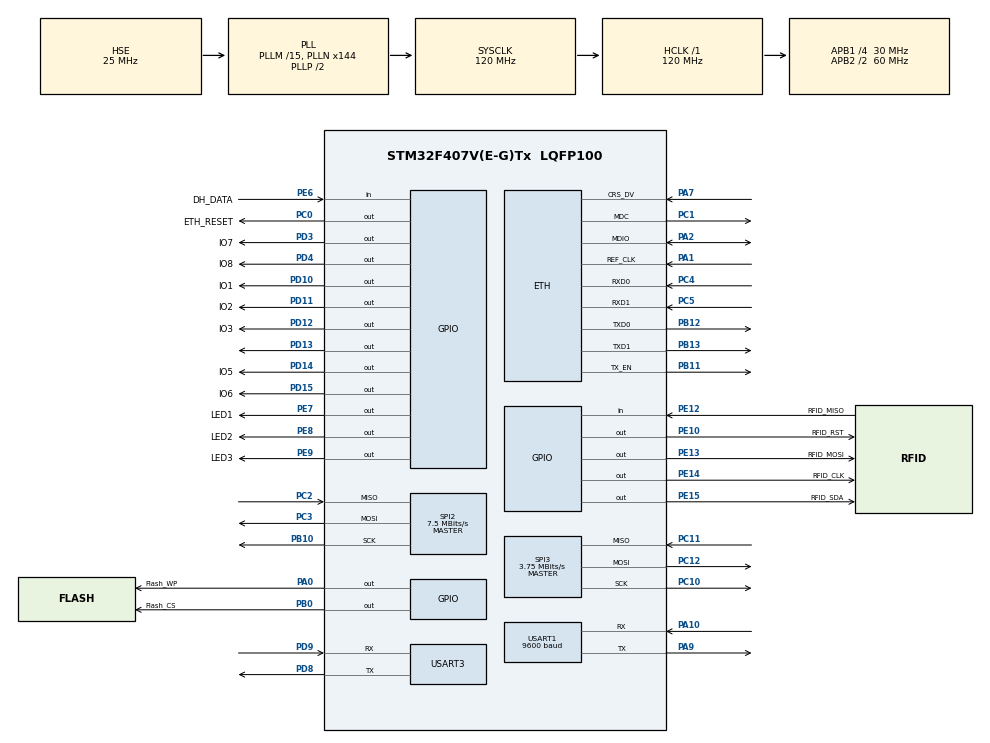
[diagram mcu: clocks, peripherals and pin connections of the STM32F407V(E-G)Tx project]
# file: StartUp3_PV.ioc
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Dma.Request0=USART1_TX
Dma.Request1=USART3_TX
Dma.Request2=SPI3_RX
Dma.Request3=SPI3_TX
Dma.SPI3_RX.2.Direction=DMA_PERIPH_TO_MEMORY
Dma.SPI3_RX.2.FIFOMode=DMA_FIFOMODE_DISABLE
Dma.SPI3_RX.2.Instance=DMA1_Stream0
Dma.SPI3_RX.2.MemDataAlignment=DMA_MDATAALIGN_BYTE
Dma.SPI3_RX.2.MemInc=DMA_MINC_ENABLE
Dma.SPI3_RX.2.Mode=DMA_NORMAL
Dma.SPI3_RX.2.PeriphDataAlignment=DMA_PDATAALIGN_BYTE
Dma.SPI3_RX.2.PeriphInc=DMA_PINC_DISABLE
Dma.SPI3_RX.2.Priority=DMA_PRIORITY_LOW
Dma.SPI3_TX.3.Direction=DMA_MEMORY_TO_PERIPH
Dma.SPI3_TX.3.FIFOMode=DMA_FIFOMODE_DISABLE
Dma.SPI3_TX.3.Instance=DMA1_Stream5
Dma.SPI3_TX.3.MemDataAlignment=DMA_MDATAALIGN_BYTE
Dma.SPI3_TX.3.MemInc=DMA_MINC_ENABLE
Dma.SPI3_TX.3.Mode=DMA_NORMAL
Dma.SPI3_TX.3.PeriphDataAlignment=DMA_PDATAALIGN_BYTE
Dma.SPI3_TX.3.PeriphInc=DMA_PINC_DISABLE
Dma.SPI3_TX.3.Priority=DMA_PRIORITY_LOW
Dma.USART1_TX.0.Direction=DMA_MEMORY_TO_PERIPH
Dma.USART1_TX.0.FIFOMode=DMA_FIFOMODE_DISABLE
Dma.USART1_TX.0.Instance=DMA2_Stream7
Dma.USART1_TX.0.MemDataAlignment=DMA_MDATAALIGN_BYTE
Dma.USART1_TX.0.MemInc=DMA_MINC_ENABLE
Dma.USART1_TX.0.Mode=DMA_NORMAL
Dma.USART1_TX.0.PeriphDataAlignment=DMA_PDATAALIGN_BYTE
Dma.USART1_TX.0.PeriphInc=DMA_PINC_DISABLE
Dma.USART1_TX.0.Priority=DMA_PRIORITY_LOW
Dma.USART3_TX.1.Direction=DMA_MEMORY_TO_PERIPH
Dma.USART3_TX.1.FIFOMode=DMA_FIFOMODE_DISABLE
Dma.USART3_TX.1.Instance=DMA1_Stream3
Dma.USART3_TX.1.MemDataAlignment=DMA_MDATAALIGN_BYTE
Dma.USART3_TX.1.MemInc=DMA_MINC_ENABLE
Dma.USART3_TX.1.Mode=DMA_NORMAL
Dma.USART3_TX.1.PeriphDataAlignment=DMA_PDATAALIGN_BYTE
Dma.USART3_TX.1.PeriphInc=DMA_PINC_DISABLE
Dma.USART3_TX.1.Priority=DMA_PRIORITY_LOW
ETH.MACAddr=00\:80\:E1\:00\:00\:02
ETH.MediaInterface=ETH_MEDIA_INTERFACE_RMII
ETH.PHY_READ_TO=0x0004FFFF
ETH.PHY_WRITE_TO=0x0004FFFF
ETH.PhyAddress=0
FREERTOS.Tasks01=defaultTask,-2,128,StartDefaultTask,Default
FREERTOS.configCHECK_FOR_STACK_OVERFLOW=0
FREERTOS.configGENERATE_RUN_TIME_STATS=1
FREERTOS.configMAX_PRIORITIES=7
FREERTOS.configMINIMAL_STACK_SIZE=64
FREERTOS.configUSE_COUNTING_SEMAPHORES=1
FREERTOS.configUSE_PORT_OPTIMISED_TASK_SELECTION=1
LWIP.LWIP_DNS=1
LWIP.Version=v1.5.0_RC0_20160211
Mcu.Family=STM32F4
Mcu.Name=STM32F407V(E-G)Tx
Mcu.Package=LQFP100
NVIC.DMA1_Stream0_IRQn=true\:5\:0\:false\:false\:true\:true
NVIC.DMA1_Stream3_IRQn=true\:5\:0\:false\:false\:true\:true
NVIC.DMA1_Stream5_IRQn=true\:5\:0\:false\:false\:true\:true
NVIC.DMA2_Stream7_IRQn=true\:5\:0\:false\:false\:true\:true
NVIC.ETH_IRQn=true\:5\:0\:false\:false\:true\:true
NVIC.PriorityGroup=NVIC_PRIORITYGROUP_4
NVIC.SPI2_IRQn=true\:5\:0\:true\:false\:true\:true
NVIC.SPI3_IRQn=true\:5\:0\:true\:false\:true\:false
NVIC.TIM4_IRQn=true\:5\:0\:true\:false\:true\:true
NVIC.TIM5_IRQn=true\:5\:0\:true\:false\:true\:true
NVIC.TIM6_DAC_IRQn=true\:0\:0\:false\:false\:true\:false
NVIC.TIM7_IRQn=true\:5\:0\:true\:false\:true\:true
NVIC.TimeBase=TIM6_DAC_IRQn
NVIC.TimeBaseIP=TIM6
NVIC.USART1_IRQn=true\:5\:0\:false\:false\:true\:true
NVIC.USART3_IRQn=true\:5\:0\:true\:false\:true\:true
PA0-WKUP.GPIO_Label=Flash_WP
PA0-WKUP.Signal=GPIO_Output
PA1.Mode=RMII
PA1.Signal=ETH_REF_CLK
PA10.Mode=Asynchronous
PA10.Signal=USART1_RX
PA13.Mode=Trace_Asynchronous_SW
PA13.Signal=SYS_JTMS-SWDIO
PA14.Mode=Trace_Asynchronous_SW
PA14.Signal=SYS_JTCK-SWCLK
PA2.Mode=RMII
PA2.Signal=ETH_MDIO
PA7.Mode=RMII
PA7.Signal=ETH_CRS_DV
PA9.Mode=Asynchronous
PA9.Signal=USART1_TX
PB0.GPIO_Label=Flash_CS
PB0.Signal=GPIO_Output
PB10.GPIO_PuPd=GPIO_PULLDOWN
PB10.GPIO_Speed=GPIO_SPEED_FREQ_HIGH
PB10.Mode=Full_Duplex_Master
PB10.Signal=SPI2_SCK
PB11.Mode=RMII
PB11.Signal=ETH_TX_EN
PB12.Mode=RMII
PB12.Signal=ETH_TXD0
PB13.Mode=RMII
PB13.Signal=ETH_TXD1
PB3.Mode=Trace_Asynchronous_SW
PB3.Signal=SYS_JTDO-SWO
PC0.GPIO_Label=ETH_RESET
PC0.GPIO_PuPd=GPIO_PULLDOWN
PC0.Signal=GPIO_Output
PC1.Mode=RMII
PC1.Signal=ETH_MDC
PC10.GPIO_PuPd=GPIO_PULLDOWN
PC10.GPIO_Speed=GPIO_SPEED_FREQ_HIGH
PC10.Mode=Full_Duplex_Master
PC10.Signal=SPI3_SCK
PC11.GPIO_PuPd=GPIO_PULLDOWN
PC11.GPIO_Speed=GPIO_SPEED_FREQ_HIGH
PC11.Mode=Full_Duplex_Master
PC11.Signal=SPI3_MISO
PC12.GPIO_PuPd=GPIO_NOPULL
PC12.GPIO_Speed=GPIO_SPEED_FREQ_HIGH
PC12.Mode=Full_Duplex_Master
PC12.Signal=SPI3_MOSI
PC2.GPIO_Speed=GPIO_SPEED_FREQ_HIGH
PC2.Mode=Full_Duplex_Master
PC2.Signal=SPI2_MISO
PC3.GPIO_Speed=GPIO_SPEED_FREQ_HIGH
PC3.Mode=Full_Duplex_Master
PC3.Signal=SPI2_MOSI
PC4.Mode=RMII
PC4.Signal=ETH_RXD0
PC5.Mode=RMII
PC5.Signal=ETH_RXD1
PD10.GPIO_Label=IO1
PD10.Signal=GPIO_Output
PD11.GPIO_Label=IO2
PD11.Signal=GPIO_Output
PD12.GPIO_Label=IO3
PD12.Signal=GPIO_Output
PD13.Signal=GPIO_Output
PD14.GPIO_Label=IO5
PD14.Signal=GPIO_Output
PD15.GPIO_Label=IO6
PD15.Signal=GPIO_Output
PD3.GPIO_Label=IO7
PD3.Signal=GPIO_Output
PD4.GPIO_Label=IO8
PD4.Signal=GPIO_Output
PD8.Mode=Asynchronous
PD8.Signal=USART3_TX
PD9.Mode=Asynchronous
PD9.Signal=USART3_RX
PE10.GPIO_Label=RFID_RST
PE10.Signal=GPIO_Output
PE12.GPIO_Label=RFID_MISO
PE12.Signal=GPIO_Input
PE13.GPIO_Label=RFID_MOSI
PE13.Signal=GPIO_Output
PE14.GPIO_Label=RFID_CLK
PE14.Signal=GPIO_Output
PE15.GPIO_Label=RFID_SDA
PE15.Signal=GPIO_Output
PE6.GPIO_Label=DH_DATA
PE6.GPIO_PuPd=GPIO_PULLUP
PE6.Signal=GPIO_Input
PE7.GPIO_Label=LED1
PE7.Signal=GPIO_Output
PE8.GPIO_Label=LED2
PE8.Signal=GPIO_Output
PE9.GPIO_Label=LED3
PE9.Signal=GPIO_Output
PH0-OSC_IN.Mode=HSE-External-Oscillator
PH0-OSC_IN.Signal=RCC_OSC_IN
PH1-OSC_OUT.Mode=HSE-External-Oscillator
PH1-OSC_OUT.Signal=RCC_OSC_OUT
ProjectManager.HeapSize=0x4000
ProjectManager.StackSize=0x0200
ProjectManager.TargetToolchain=MDK-ARM V5
RCC.48MHZClocksFreq_Value=48000000
RCC.AHBFreq_Value=120000000
RCC.APB1CLKDivider=RCC_HCLK_DIV4
RCC.APB1Freq_Value=30000000
RCC.APB1TimFreq_Value=60000000
RCC.APB2CLKDivider=RCC_HCLK_DIV2
RCC.APB2Freq_Value=60000000
RCC.APB2TimFreq_Value=120000000
RCC.CortexFreq_Value=120000000
RCC.HCLKFreq_Value=120000000
RCC.HSE_VALUE=25000000
RCC.HSI_VALUE=16000000
RCC.LSE_VALUE=32768
RCC.PLLM=15
RCC.PLLN=144
RCC.PLLQ=5
RCC.PLLSourceVirtual=RCC_PLLSOURCE_HSE
RCC.SYSCLKFreq_VALUE=120000000
RCC.SYSCLKSource=RCC_SYSCLKSOURCE_PLLCLK
RCC.VCOOutputFreq_Value=240000000
SPI2.BaudRatePrescaler=SPI_BAUDRATEPRESCALER_4
SPI2.CalculateBaudRate=7.5 MBits/s
SPI2.Mode=SPI_MODE_MASTER
SPI3.BaudRatePrescaler=SPI_BAUDRATEPRESCALER_8
SPI3.CLKPhase=SPI_PHASE_1EDGE
SPI3.CalculateBaudRate=3.75 MBits/s
SPI3.Mode=SPI_MODE_MASTER
TIM4.ClockDivision=TIM_CLOCKDIVISION_DIV1
TIM4.CounterMode=TIM_COUNTERMODE_DOWN
TIM4.Period=0xffff
TIM4.Prescaler=2999
TIM4.TIM_MasterOutputTrigger=TIM_TRGO_RESET
TIM5.Period=4294967295
TIM5.Prescaler=5999
TIM7.Period=1499
TIM7.Prescaler=59
USART1.BaudRate=9600
USART1.Parity=UART_PARITY_NONE
USART1.StopBits=UART_STOPBITS_1
USART1.WordLength=UART_WORDLENGTH_8B
USART3.OverSampling=UART_OVERSAMPLING_16
VP_FREERTOS_VS_ENABLE.Mode=Enabled
VP_LWIP_VS_Enabled.Mode=Enabled
VP_SYS_VS_tim6.Mode=TIM6
VP_TIM4_VS_ClockSourceINT.Mode=Internal
VP_TIM5_VS_ClockSourceINT.Mode=Internal
VP_TIM7_VS_ClockSourceINT.Mode=Enable_Timer
board=StartUp3_PV

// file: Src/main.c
/**
  ******************************************************************************
  * File Name          : main.c
  * Description        : Main program body
  ******************************************************************************
  *
  * COPYRIGHT(c) 2016 STMicroelectronics
  *
  * Redistribution and use in source and binary forms, with or without modification,
  * are permitted provided that the following conditions are met:
  *   1. Redistributions of source code must retain the above copyright notice,
  *      this list of conditions and the following disclaimer.
  *   2. Redistributions in binary form must reproduce the above copyright notice,
  *      this list of conditions and the following disclaimer in the documentation
  *      and/or other materials provided with the distribution.
  *   3. Neither the name of STMicroelectronics nor the names of its contributors
  *      may be used to endorse or promote products derived from this software
  *      without specific prior written permission.
  *
  * THIS SOFTWARE IS PROVIDED BY THE COPYRIGHT HOLDERS AND CONTRIBUTORS "AS IS"
  * AND ANY EXPRESS OR IMPLIED WARRANTIES, INCLUDING, BUT NOT LIMITED TO, THE
  * IMPLIED WARRANTIES OF MERCHANTABILITY AND FITNESS FOR A PARTICULAR PURPOSE ARE
  * DISCLAIMED. IN NO EVENT SHALL THE COPYRIGHT HOLDER OR CONTRIBUTORS BE LIABLE
  * FOR ANY DIRECT, INDIRECT, INCIDENTAL, SPECIAL, EXEMPLARY, OR CONSEQUENTIAL
  * DAMAGES (INCLUDING, BUT NOT LIMITED TO, PROCUREMENT OF SUBSTITUTE GOODS OR
  * SERVICES; LOSS OF USE, DATA, OR PROFITS; OR BUSINESS INTERRUPTION) HOWEVER
  * CAUSED AND ON ANY THEORY OF LIABILITY, WHETHER IN CONTRACT, STRICT LIABILITY,
  * OR TORT (INCLUDING NEGLIGENCE OR OTHERWISE) ARISING IN ANY WAY OUT OF THE USE
  * OF THIS SOFTWARE, EVEN IF ADVISED OF THE POSSIBILITY OF SUCH DAMAGE.
  *
  ******************************************************************************
  */
#include "stm32f4xx_hal.h"
#include "cmsis_os.h"
#include "lwip.h"

/* USER CODE BEGIN Includes */
#include "utask.h"
/* USER CODE END Includes */

SPI_HandleTypeDef hspi2;
SPI_HandleTypeDef hspi3;
DMA_HandleTypeDef hdma_spi3_rx;
DMA_HandleTypeDef hdma_spi3_tx;

TIM_HandleTypeDef htim4;
TIM_HandleTypeDef htim5;
TIM_HandleTypeDef htim7;

UART_HandleTypeDef huart1;
UART_HandleTypeDef huart3;
DMA_HandleTypeDef hdma_usart1_tx;
DMA_HandleTypeDef hdma_usart3_tx;

osThreadId defaultTaskHandle;

/* USER CODE BEGIN PV */
/* Private variables ---------------------------------------------------------*/
xTaskHandle xPrnHandle, xMQTTHandle, xDHTHandle, xMBPHandle, \
  xCmdAnalyzeHandle, xRFIDPollHandle;
xQueueHandle xPubQueue;
xSemaphoreHandle xPrnDMAMutex;
/* USER CODE END PV */

void SystemClock_Config(void);
void Error_Handler(void);
static void MX_GPIO_Init(void);
static void MX_DMA_Init(void);
static void MX_SPI2_Init(void);
static void MX_TIM7_Init(void);
static void MX_USART3_UART_Init(void);
static void MX_TIM4_Init(void);
static void MX_USART1_UART_Init(void);
static void MX_TIM5_Init(void);
static void MX_SPI3_Init(void);
void StartDefaultTask(void const * argument);

/* USER CODE BEGIN PFP */
/* Private function prototypes -----------------------------------------------*/
extern void vDaemonPrint(void *);
extern void vMQTTTask(void *);
extern void vDHTTask(void *);
extern void vMBPTask(void *);
extern void vCmdAnalyzeTask(void *);
extern void vRFIDPollTask(void *);

extern void SPI_Flash_WakeUp(void);
extern void ReadInvSN(void);
/* USER CODE END PFP */

int main(void)
{

  /* MCU Configuration----------------------------------------------------------*/

  /* Reset of all peripherals, Initializes the Flash interface and the Systick. */
  HAL_Init();

  /* Configure the system clock */
  SystemClock_Config();

  /* Initialize all configured peripherals */
  MX_GPIO_Init();
  MX_DMA_Init();
  MX_SPI2_Init();
  MX_TIM7_Init();
  MX_USART3_UART_Init();
  MX_TIM4_Init();
  MX_USART1_UART_Init();
  MX_TIM5_Init();
  MX_SPI3_Init();

  /* USER CODE BEGIN 2 */
  HAL_CalTick();
  HAL_DelayUs(400);

  SPI_Flash_WakeUp();
  /* USER CODE END 2 */

  /* USER CODE BEGIN RTOS_MUTEX */
  /* add mutexes, ... */
  xPrnDMAMutex = xSemaphoreCreateCounting(1, 0);	// MUTEX should NOT be used in ISR! use 0/1 counting instead!
  /* USER CODE END RTOS_MUTEX */

  /* Create the thread(s) */
  /* definition and creation of defaultTask */
  osThreadDef(defaultTask, StartDefaultTask, osPriorityLow, 0, 128);
  defaultTaskHandle = osThreadCreate(osThread(defaultTask), NULL);

  /* USER CODE BEGIN RTOS_THREADS */
  /* add threads, ... */
  xTaskCreate(vDaemonPrint, "DaemonPrint", 96, NULL, 2, &xPrnHandle);
  xTaskCreate(vMQTTTask, "MQTT", 288, NULL, 2, &xMQTTHandle);
  xTaskCreate(vDHTTask, "DHT11", 192, NULL, 2, &xDHTHandle);
  xTaskCreate(vMBPTask, "ModbusPoll", 96, NULL, 2, &xMBPHandle);
	xTaskCreate(vCmdAnalyzeTask, "CmdAna", 128, NULL, 1, &xCmdAnalyzeHandle);
	xTaskCreate(vRFIDPollTask, "RFIDpoll", 128, NULL, 2, &xRFIDPollHandle);
  /* USER CODE END RTOS_THREADS */

  /* USER CODE BEGIN RTOS_QUEUES */
  /* add queues, ... */
  xPubQueue = xQueueCreate(6, sizeof(int));	// 4 type PublishData json
  /* USER CODE END RTOS_QUEUES */

  /* Start scheduler */
  osKernelStart();

  /* We should never get here as control is now taken by the scheduler */

  /* Infinite loop */
  while (1)
  {

  }

}

/** System Clock Configuration
*/
void SystemClock_Config(void)
{

  RCC_OscInitTypeDef RCC_OscInitStruct;
  RCC_ClkInitTypeDef RCC_ClkInitStruct;

  __HAL_RCC_PWR_CLK_ENABLE();

  __HAL_PWR_VOLTAGESCALING_CONFIG(PWR_REGULATOR_VOLTAGE_SCALE1);

  RCC_OscInitStruct.OscillatorType = RCC_OSCILLATORTYPE_HSE;
  RCC_OscInitStruct.HSEState = RCC_HSE_ON;
  RCC_OscInitStruct.PLL.PLLState = RCC_PLL_ON;
  RCC_OscInitStruct.PLL.PLLSource = RCC_PLLSOURCE_HSE;
  RCC_OscInitStruct.PLL.PLLM = 15;
  RCC_OscInitStruct.PLL.PLLN = 144;
  RCC_OscInitStruct.PLL.PLLP = RCC_PLLP_DIV2;
  RCC_OscInitStruct.PLL.PLLQ = 5;
  if (HAL_RCC_OscConfig(&RCC_OscInitStruct) != HAL_OK)
  {
    Error_Handler();
  }

  RCC_ClkInitStruct.ClockType = RCC_CLOCKTYPE_HCLK|RCC_CLOCKTYPE_SYSCLK
                              |RCC_CLOCKTYPE_PCLK1|RCC_CLOCKTYPE_PCLK2;
  RCC_ClkInitStruct.SYSCLKSource = RCC_SYSCLKSOURCE_PLLCLK;
  RCC_ClkInitStruct.AHBCLKDivider = RCC_SYSCLK_DIV1;
  RCC_ClkInitStruct.APB1CLKDivider = RCC_HCLK_DIV4;
  RCC_ClkInitStruct.APB2CLKDivider = RCC_HCLK_DIV2;
  if (HAL_RCC_ClockConfig(&RCC_ClkInitStruct, FLASH_LATENCY_3) != HAL_OK)
  {
    Error_Handler();
  }

  HAL_SYSTICK_Config(HAL_RCC_GetHCLKFreq()/1000);

  HAL_SYSTICK_CLKSourceConfig(SYSTICK_CLKSOURCE_HCLK);

  /* SysTick_IRQn interrupt configuration */
  HAL_NVIC_SetPriority(SysTick_IRQn, 15, 0);
}

/* SPI2 init function */
static void MX_SPI2_Init(void)
{

  hspi2.Instance = SPI2;
  hspi2.Init.Mode = SPI_MODE_MASTER;
  hspi2.Init.Direction = SPI_DIRECTION_2LINES;
  hspi2.Init.DataSize = SPI_DATASIZE_8BIT;
  hspi2.Init.CLKPolarity = SPI_POLARITY_LOW;
  hspi2.Init.CLKPhase = SPI_PHASE_1EDGE;
  hspi2.Init.NSS = SPI_NSS_SOFT;
  hspi2.Init.BaudRatePrescaler = SPI_BAUDRATEPRESCALER_4;
  hspi2.Init.FirstBit = SPI_FIRSTBIT_MSB;
  hspi2.Init.TIMode = SPI_TIMODE_DISABLE;
  hspi2.Init.CRCCalculation = SPI_CRCCALCULATION_DISABLE;
  hspi2.Init.CRCPolynomial = 10;
  if (HAL_SPI_Init(&hspi2) != HAL_OK)
  {
    Error_Handler();
  }

}

/* SPI3 init function */
static void MX_SPI3_Init(void)
{

  hspi3.Instance = SPI3;
  hspi3.Init.Mode = SPI_MODE_MASTER;
  hspi3.Init.Direction = SPI_DIRECTION_2LINES;
  hspi3.Init.DataSize = SPI_DATASIZE_8BIT;
  hspi3.Init.CLKPolarity = SPI_POLARITY_LOW;
  hspi3.Init.CLKPhase = SPI_PHASE_1EDGE;
  hspi3.Init.NSS = SPI_NSS_SOFT;
  hspi3.Init.BaudRatePrescaler = SPI_BAUDRATEPRESCALER_8;
  hspi3.Init.FirstBit = SPI_FIRSTBIT_MSB;
  hspi3.Init.TIMode = SPI_TIMODE_DISABLE;
  hspi3.Init.CRCCalculation = SPI_CRCCALCULATION_DISABLE;
  hspi3.Init.CRCPolynomial = 10;
  if (HAL_SPI_Init(&hspi3) != HAL_OK)
  {
    Error_Handler();
  }

}

/* TIM4 init function */
static void MX_TIM4_Init(void)
{

  TIM_ClockConfigTypeDef sClockSourceConfig;
  TIM_MasterConfigTypeDef sMasterConfig;

  htim4.Instance = TIM4;
  htim4.Init.Prescaler = 2999;
  htim4.Init.CounterMode = TIM_COUNTERMODE_DOWN;
  htim4.Init.Period = 0xffff;
  htim4.Init.ClockDivision = TIM_CLOCKDIVISION_DIV1;
  if (HAL_TIM_Base_Init(&htim4) != HAL_OK)
  {
    Error_Handler();
  }

  sClockSourceConfig.ClockSource = TIM_CLOCKSOURCE_INTERNAL;
  if (HAL_TIM_ConfigClockSource(&htim4, &sClockSourceConfig) != HAL_OK)
  {
    Error_Handler();
  }

  sMasterConfig.MasterOutputTrigger = TIM_TRGO_RESET;
  sMasterConfig.MasterSlaveMode = TIM_MASTERSLAVEMODE_DISABLE;
  if (HAL_TIMEx_MasterConfigSynchronization(&htim4, &sMasterConfig) != HAL_OK)
  {
    Error_Handler();
  }

}

/* TIM5 init function */
static void MX_TIM5_Init(void)
{

  TIM_ClockConfigTypeDef sClockSourceConfig;
  TIM_MasterConfigTypeDef sMasterConfig;

  htim5.Instance = TIM5;
  htim5.Init.Prescaler = 5999;
  htim5.Init.CounterMode = TIM_COUNTERMODE_UP;
  htim5.Init.Period = 4294967295;
  htim5.Init.ClockDivision = TIM_CLOCKDIVISION_DIV1;
  if (HAL_TIM_Base_Init(&htim5) != HAL_OK)
  {
    Error_Handler();
  }

  sClockSourceConfig.ClockSource = TIM_CLOCKSOURCE_INTERNAL;
  if (HAL_TIM_ConfigClockSource(&htim5, &sClockSourceConfig) != HAL_OK)
  {
    Error_Handler();
  }

  sMasterConfig.MasterOutputTrigger = TIM_TRGO_RESET;
  sMasterConfig.MasterSlaveMode = TIM_MASTERSLAVEMODE_DISABLE;
  if (HAL_TIMEx_MasterConfigSynchronization(&htim5, &sMasterConfig) != HAL_OK)
  {
    Error_Handler();
  }

}

/* TIM7 init function */
static void MX_TIM7_Init(void)
{

  TIM_MasterConfigTypeDef sMasterConfig;

  htim7.Instance = TIM7;
  htim7.Init.Prescaler = 59;
  htim7.Init.CounterMode = TIM_COUNTERMODE_UP;
  htim7.Init.Period = 1499;
  if (HAL_TIM_Base_Init(&htim7) != HAL_OK)
  {
    Error_Handler();
  }

  sMasterConfig.MasterOutputTrigger = TIM_TRGO_RESET;
  sMasterConfig.MasterSlaveMode = TIM_MASTERSLAVEMODE_DISABLE;
  if (HAL_TIMEx_MasterConfigSynchronization(&htim7, &sMasterConfig) != HAL_OK)
  {
    Error_Handler();
  }

}

/* USART1 init function */
static void MX_USART1_UART_Init(void)
{

  huart1.Instance = USART1;
  huart1.Init.BaudRate = 9600;
  huart1.Init.WordLength = UART_WORDLENGTH_8B;
  huart1.Init.StopBits = UART_STOPBITS_1;
  huart1.Init.Parity = UART_PARITY_NONE;
  huart1.Init.Mode = UART_MODE_TX_RX;
  huart1.Init.HwFlowCtl = UART_HWCONTROL_NONE;
  huart1.Init.OverSampling = UART_OVERSAMPLING_16;
  if (HAL_UART_Init(&huart1) != HAL_OK)
  {
    Error_Handler();
  }

}

/* USART3 init function */
static void MX_USART3_UART_Init(void)
{

  huart3.Instance = USART3;
  huart3.Init.BaudRate = 115200;
  huart3.Init.WordLength = UART_WORDLENGTH_8B;
  huart3.Init.StopBits = UART_STOPBITS_1;
  huart3.Init.Parity = UART_PARITY_NONE;
  huart3.Init.Mode = UART_MODE_TX_RX;
  huart3.Init.HwFlowCtl = UART_HWCONTROL_NONE;
  huart3.Init.OverSampling = UART_OVERSAMPLING_16;
  if (HAL_UART_Init(&huart3) != HAL_OK)
  {
    Error_Handler();
  }

}

static void MX_DMA_Init(void)
{
  /* DMA controller clock enable */
  __HAL_RCC_DMA2_CLK_ENABLE();
  __HAL_RCC_DMA1_CLK_ENABLE();

  /* DMA interrupt init */
  /* DMA1_Stream0_IRQn interrupt configuration */
  HAL_NVIC_SetPriority(DMA1_Stream0_IRQn, 5, 0);
  HAL_NVIC_EnableIRQ(DMA1_Stream0_IRQn);
  /* DMA1_Stream3_IRQn interrupt configuration */
  HAL_NVIC_SetPriority(DMA1_Stream3_IRQn, 5, 0);
  HAL_NVIC_EnableIRQ(DMA1_Stream3_IRQn);
  /* DMA1_Stream5_IRQn interrupt configuration */
  HAL_NVIC_SetPriority(DMA1_Stream5_IRQn, 5, 0);
  HAL_NVIC_EnableIRQ(DMA1_Stream5_IRQn);
  /* DMA2_Stream7_IRQn interrupt configuration */
  HAL_NVIC_SetPriority(DMA2_Stream7_IRQn, 5, 0);
  HAL_NVIC_EnableIRQ(DMA2_Stream7_IRQn);

}

/** Configure pins as
        * Analog
        * Input
        * Output
        * EVENT_OUT
        * EXTI
*/
static void MX_GPIO_Init(void)
{

  GPIO_InitTypeDef GPIO_InitStruct;

  /* GPIO Ports Clock Enable */
  __HAL_RCC_GPIOE_CLK_ENABLE();
  __HAL_RCC_GPIOH_CLK_ENABLE();
  __HAL_RCC_GPIOC_CLK_ENABLE();
  __HAL_RCC_GPIOA_CLK_ENABLE();
  __HAL_RCC_GPIOB_CLK_ENABLE();
  __HAL_RCC_GPIOD_CLK_ENABLE();

  /*Configure GPIO pin : DH_DATA_Pin */
  GPIO_InitStruct.Pin = DH_DATA_Pin;
  GPIO_InitStruct.Mode = GPIO_MODE_INPUT;
  GPIO_InitStruct.Pull = GPIO_PULLUP;
  HAL_GPIO_Init(DH_DATA_GPIO_Port, &GPIO_InitStruct);

  /*Configure GPIO pin : ETH_RESET_Pin */
  GPIO_InitStruct.Pin = ETH_RESET_Pin;
  GPIO_InitStruct.Mode = GPIO_MODE_OUTPUT_PP;
  GPIO_InitStruct.Pull = GPIO_PULLDOWN;
  GPIO_InitStruct.Speed = GPIO_SPEED_FREQ_LOW;
  HAL_GPIO_Init(ETH_RESET_GPIO_Port, &GPIO_InitStruct);

  /*Configure GPIO pin : Flash_WP_Pin */
  GPIO_InitStruct.Pin = Flash_WP_Pin;
  GPIO_InitStruct.Mode = GPIO_MODE_OUTPUT_PP;
  GPIO_InitStruct.Pull = GPIO_NOPULL;
  GPIO_InitStruct.Speed = GPIO_SPEED_FREQ_LOW;
  HAL_GPIO_Init(Flash_WP_GPIO_Port, &GPIO_InitStruct);

  /*Configure GPIO pin : Flash_CS_Pin */
  GPIO_InitStruct.Pin = Flash_CS_Pin;
  GPIO_InitStruct.Mode = GPIO_MODE_OUTPUT_PP;
  GPIO_InitStruct.Pull = GPIO_NOPULL;
  GPIO_InitStruct.Speed = GPIO_SPEED_FREQ_LOW;
  HAL_GPIO_Init(Flash_CS_GPIO_Port, &GPIO_InitStruct);

  /*Configure GPIO pins : LED1_Pin LED2_Pin LED3_Pin RFID_RST_Pin
                           RFID_MOSI_Pin RFID_CLK_Pin RFID_SDA_Pin */
  GPIO_InitStruct.Pin = LED1_Pin|LED2_Pin|LED3_Pin|RFID_RST_Pin
                          |RFID_MOSI_Pin|RFID_CLK_Pin|RFID_SDA_Pin;
  GPIO_InitStruct.Mode = GPIO_MODE_OUTPUT_PP;
  GPIO_InitStruct.Pull = GPIO_NOPULL;
  GPIO_InitStruct.Speed = GPIO_SPEED_FREQ_LOW;
  HAL_GPIO_Init(GPIOE, &GPIO_InitStruct);

  /*Configure GPIO pin : RFID_MISO_Pin */
  GPIO_InitStruct.Pin = RFID_MISO_Pin;
  GPIO_InitStruct.Mode = GPIO_MODE_INPUT;
  GPIO_InitStruct.Pull = GPIO_NOPULL;
  HAL_GPIO_Init(RFID_MISO_GPIO_Port, &GPIO_InitStruct);

  /*Configure GPIO pins : IO1_Pin IO2_Pin IO3_Pin PD13
                           IO5_Pin IO6_Pin IO7_Pin IO8_Pin */
  GPIO_InitStruct.Pin = IO1_Pin|IO2_Pin|IO3_Pin|GPIO_PIN_13
                          |IO5_Pin|IO6_Pin|IO7_Pin|IO8_Pin;
  GPIO_InitStruct.Mode = GPIO_MODE_OUTPUT_PP;
  GPIO_InitStruct.Pull = GPIO_NOPULL;
  GPIO_InitStruct.Speed = GPIO_SPEED_FREQ_LOW;
  HAL_GPIO_Init(GPIOD, &GPIO_InitStruct);

  /*Configure GPIO pin Output Level */
  HAL_GPIO_WritePin(ETH_RESET_GPIO_Port, ETH_RESET_Pin, GPIO_PIN_RESET);

  /*Configure GPIO pin Output Level */
  HAL_GPIO_WritePin(Flash_WP_GPIO_Port, Flash_WP_Pin, GPIO_PIN_RESET);

  /*Configure GPIO pin Output Level */
  HAL_GPIO_WritePin(Flash_CS_GPIO_Port, Flash_CS_Pin, GPIO_PIN_RESET);

  /*Configure GPIO pin Output Level */
  HAL_GPIO_WritePin(GPIOE, LED1_Pin|LED2_Pin|LED3_Pin|RFID_RST_Pin
                          |RFID_MOSI_Pin|RFID_CLK_Pin|RFID_SDA_Pin, GPIO_PIN_RESET);

  /*Configure GPIO pin Output Level */
  HAL_GPIO_WritePin(GPIOD, IO1_Pin|IO2_Pin|IO3_Pin|GPIO_PIN_13
                          |IO5_Pin|IO6_Pin|IO7_Pin|IO8_Pin, GPIO_PIN_RESET);

}

/* StartDefaultTask function */
void StartDefaultTask(void const * argument)
{
  /* init code for LWIP */
  MX_LWIP_Init();

  /* USER CODE BEGIN 5 */
	uint32_t phyreg = 0U;

	__HAL_UART_ENABLE_IT(&huart3, UART_IT_RXNE);
  Print("\n\nEthernet MB bridge, build ");
  sprintf(gTmp, "%x\n%s", __BUILD_, PROMPT);
  Print(gTmp);

  osDelay(1);
  /* Infinite loop */
  for(;;)
  {
    LED_Toggle(1);
    //sprintf(gTmp, "RTOS FreeHeapSize %d\n",xPortGetFreeHeapSize());
    //Print(gTmp);
		ReadInvSN();
		HAL_ETH_ReadPHYRegister(&heth, PHY_BSR, &phyreg);
    if (((phyreg & PHY_LINKED_STATUS) != PHY_LINKED_STATUS))
		{
      sprintf(gTmp, "PHY_LINKED_STATUS: %d\n", phyreg);
      Print(gTmp);
		}
    osDelay(10000);

  }
  /* USER CODE END 5 */
}

void HAL_TIM_PeriodElapsedCallback(TIM_HandleTypeDef *htim)
{
  if (htim->Instance == TIM6) {
    HAL_IncTick();
  }
}

void Error_Handler(void)
{
  while(1)
  {
  }
}

#ifdef USE_FULL_ASSERT

/**
   * @brief Reports the name of the source file and the source line number
   * where the assert_param error has occurred.
   * @param file: pointer to the source file name
   * @param line: assert_param error line source number
   * @retval None
   */
void assert_failed(uint8_t* file, uint32_t line)
{
  /* USER CODE BEGIN 6 */
  /* User can add his own implementation to report the file name and line number,
    ex: printf("Wrong parameters value: file %s on line %d\r\n", file, line) */
	printf("Wrong parameters value: file %s on line %d\r\n", file, line);
  /* USER CODE END 6 */

}

#endif

/************************ (C) COPYRIGHT STMicroelectronics *****END OF FILE****/

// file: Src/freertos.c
/**
  ******************************************************************************
  * File Name          : freertos.c
  * Description        : Code for freertos applications
  ******************************************************************************
  *
  * COPYRIGHT(c) 2016 STMicroelectronics
  *
  * Redistribution and use in source and binary forms, with or without modification,
  * are permitted provided that the following conditions are met:
  *   1. Redistributions of source code must retain the above copyright notice,
  *      this list of conditions and the following disclaimer.
  *   2. Redistributions in binary form must reproduce the above copyright notice,
  *      this list of conditions and the following disclaimer in the documentation
  *      and/or other materials provided with the distribution.
  *   3. Neither the name of STMicroelectronics nor the names of its contributors
  *      may be used to endorse or promote products derived from this software
  *      without specific prior written permission.
  *
  * THIS SOFTWARE IS PROVIDED BY THE COPYRIGHT HOLDERS AND CONTRIBUTORS "AS IS"
  * AND ANY EXPRESS OR IMPLIED WARRANTIES, INCLUDING, BUT NOT LIMITED TO, THE
  * IMPLIED WARRANTIES OF MERCHANTABILITY AND FITNESS FOR A PARTICULAR PURPOSE ARE
  * DISCLAIMED. IN NO EVENT SHALL THE COPYRIGHT HOLDER OR CONTRIBUTORS BE LIABLE
  * FOR ANY DIRECT, INDIRECT, INCIDENTAL, SPECIAL, EXEMPLARY, OR CONSEQUENTIAL
  * DAMAGES (INCLUDING, BUT NOT LIMITED TO, PROCUREMENT OF SUBSTITUTE GOODS OR
  * SERVICES; LOSS OF USE, DATA, OR PROFITS; OR BUSINESS INTERRUPTION) HOWEVER
  * CAUSED AND ON ANY THEORY OF LIABILITY, WHETHER IN CONTRACT, STRICT LIABILITY,
  * OR TORT (INCLUDING NEGLIGENCE OR OTHERWISE) ARISING IN ANY WAY OUT OF THE USE
  * OF THIS SOFTWARE, EVEN IF ADVISED OF THE POSSIBILITY OF SUCH DAMAGE.
  *
  ******************************************************************************
  */

#include "FreeRTOS.h"
#include "task.h"

/* USER CODE BEGIN Includes */
#include "utask.h"
/* USER CODE END Includes */

/* Hook prototypes */
void configureTimerForRunTimeStats(void);
unsigned long getRunTimeCounterValue(void);

/* USER CODE BEGIN 1 */
extern TIM_HandleTypeDef htim5;
/* Functions needed when configGENERATE_RUN_TIME_STATS is on */
void configureTimerForRunTimeStats(void)
{
  //__HAL_TIM_CLEAR_IT(&htim5, TIM_IT_UPDATE);
  //__HAL_TIM_ENABLE_IT(&htim5, TIM_IT_UPDATE);
  __HAL_TIM_SetCounter(&htim5, 0);
  __HAL_TIM_ENABLE(&htim5);
}

unsigned long getRunTimeCounterValue(void)
{
	return __HAL_TIM_GetCounter(&htim5);
}
/* USER CODE END 1 */

/************************ (C) COPYRIGHT STMicroelectronics *****END OF FILE****/
